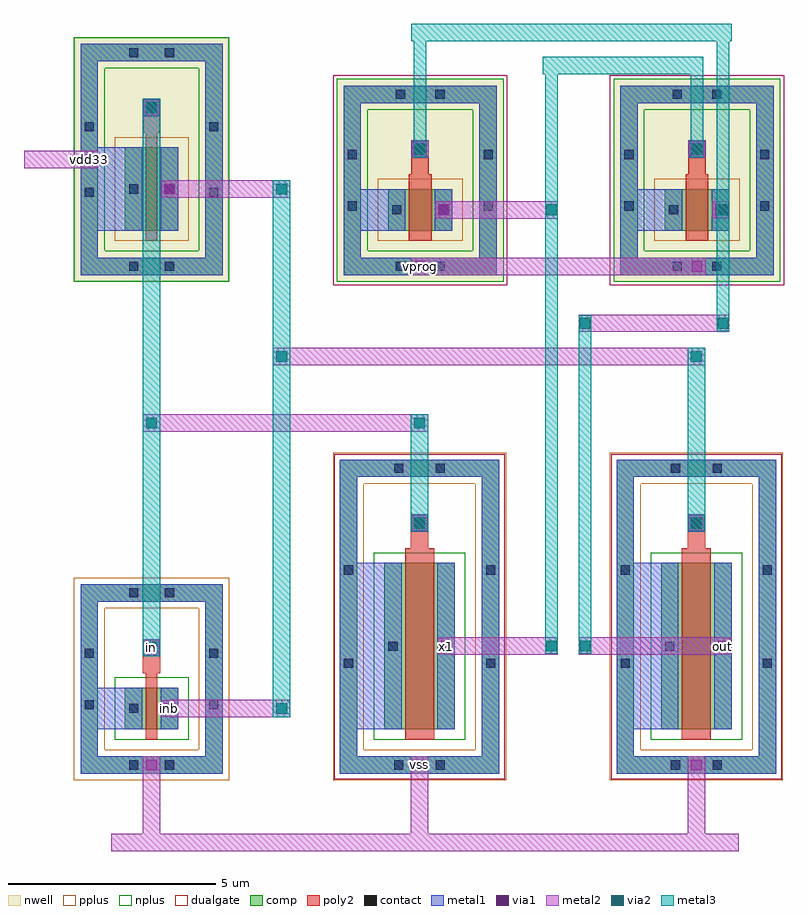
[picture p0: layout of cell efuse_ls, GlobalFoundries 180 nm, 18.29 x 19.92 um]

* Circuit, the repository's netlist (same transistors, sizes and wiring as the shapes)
.subckt efuse_ls in out vdd33 vprog vss
*.ipin in
*.opin out
*.iopin vdd33
*.iopin vprog
*.iopin vss
XMpi inb in vdd33 vdd33 pfet_03v3 L=0.28u W=2u nf=1 ad='int((nf+1)/2) * W/nf * 0.18u' as='int((nf+2)/2) * W/nf * 0.18u' pd='2*int((nf+1)/2) * (W/nf + 0.18u)'
+ ps='2*int((nf+2)/2) * (W/nf + 0.18u)' nrd='0.18u / W' nrs='0.18u / W' sa=0 sb=0 sd=0 m=1
XMni inb in vss vss nfet_03v3 L=0.28u W=1u nf=1 ad='int((nf+1)/2) * W/nf * 0.18u' as='int((nf+2)/2) * W/nf * 0.18u' pd='2*int((nf+1)/2) * (W/nf + 0.18u)'
+ ps='2*int((nf+2)/2) * (W/nf + 0.18u)' nrd='0.18u / W' nrs='0.18u / W' sa=0 sb=0 sd=0 m=1
XMn1 x1 in vss vss nfet_06v0 L=0.7u W=4u nf=1 ad='int((nf+1)/2) * W/nf * 0.18u' as='int((nf+2)/2) * W/nf * 0.18u' pd='2*int((nf+1)/2) * (W/nf + 0.18u)'
+ ps='2*int((nf+2)/2) * (W/nf + 0.18u)' nrd='0.18u / W' nrs='0.18u / W' sa=0 sb=0 sd=0 m=1
XMn2 out inb vss vss nfet_06v0 L=0.7u W=4u nf=1 ad='int((nf+1)/2) * W/nf * 0.18u' as='int((nf+2)/2) * W/nf * 0.18u' pd='2*int((nf+1)/2) * (W/nf + 0.18u)'
+ ps='2*int((nf+2)/2) * (W/nf + 0.18u)' nrd='0.18u / W' nrs='0.18u / W' sa=0 sb=0 sd=0 m=1
XMp1 x1 out vprog vprog pfet_06v0 L=0.55u W=1u nf=1 ad='int((nf+1)/2) * W/nf * 0.18u' as='int((nf+2)/2) * W/nf * 0.18u' pd='2*int((nf+1)/2) * (W/nf + 0.18u)'
+ ps='2*int((nf+2)/2) * (W/nf + 0.18u)' nrd='0.18u / W' nrs='0.18u / W' sa=0 sb=0 sd=0 m=1
XMp2 out x1 vprog vprog pfet_06v0 L=0.55u W=1u nf=1 ad='int((nf+1)/2) * W/nf * 0.18u' as='int((nf+2)/2) * W/nf * 0.18u' pd='2*int((nf+1)/2) * (W/nf + 0.18u)'
+ ps='2*int((nf+2)/2) * (W/nf + 0.18u)' nrd='0.18u / W' nrs='0.18u / W' sa=0 sb=0 sd=0 m=1
.ends

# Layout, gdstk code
import gdstk
lib = gdstk.Library(unit=1e-6, precision=1e-09)
def R(c, l, rs):  # rectangles x0, y0, x1, y1
    for r in rs: c.add(gdstk.rectangle(r[:2], r[2:], *l))
def P(c, l, *ps):  # polygons
    for p in ps: c.add(gdstk.Polygon(p, *l))
nwell = (21, 0)
comp = (22, 0)
poly2 = (30, 0)
pplus = (31, 0)
nplus = (32, 0)
contact = (33, 0)
metal1 = (34, 0)
via1 = (35, 0)
metal2 = (36, 0)
via2 = (38, 0)
metal3 = (42, 0)
dualgate = (55, 0)

efuse_ls__mpi_leaf2__cor = lib.new_cell('efuse_ls__Mpi_leaf2__core')
R(efuse_ls__mpi_leaf2__cor, nwell, [(-1.22,-1.22,2.5,4.64), (-0.15,-0.15,1.43,3.57)])
R(efuse_ls__mpi_leaf2__cor, comp, [(0,0,1.28,2)])
P(efuse_ls__mpi_leaf2__cor, comp, [(-1.07,-1.07),(-1.07,4.07),(-0.65,4.07),(-0.65,-0.65),(1.93,-0.65),(1.93,4.07),(-1.07,4.07),(-1.07,4.49),(2.35,4.49),(2.35,-1.07)])
R(efuse_ls__mpi_leaf2__cor, poly2, [(0.5,-0.25,0.78,2), (0.5,2,0.78,2.35), (0.43,2.35,0.85,3.17)])
R(efuse_ls__mpi_leaf2__cor, pplus, [(-0.25,-0.25,1.53,2.25)])
P(efuse_ls__mpi_leaf2__cor, nplus, [(-1.23,-1.23),(-1.23,3.91),(-0.49,3.91),(-0.49,-0.49),(1.77,-0.49),(1.77,3.91),(-1.23,3.91),(-1.23,4.65),(2.51,4.65),(2.51,-1.23)])
R(efuse_ls__mpi_leaf2__cor, contact, [(0.1,-0.97,0.32,-0.75), (0.96,-0.97,1.18,-0.75), (-0.97,0.815,-0.75,1.035), (2.03,0.815,2.25,1.035), (0.1,0.89,0.32,1.11), (0.96,0.89,1.18,1.11), (-0.97,2.385,-0.75,2.605), (2.03,2.385,2.25,2.605), (0.53,2.85,0.75,3.07), (0.1,4.17,0.32,4.39), (0.96,4.17,1.18,4.39)])
R(efuse_ls__mpi_leaf2__cor, metal1, [(0,0,0.42,2), (0.86,0,1.28,2), (0.43,2.75,0.85,3.17)])
P(efuse_ls__mpi_leaf2__cor, metal1, [(-1.07,-1.07),(-1.07,4.07),(-0.65,4.07),(-0.65,-0.65),(1.93,-0.65),(1.93,4.07),(-1.07,4.07),(-1.07,4.49),(2.35,4.49),(2.35,-1.07)])

efuse_ls__mpi = lib.new_cell('efuse_ls__Mpi')
efuse_ls__mpi.add(gdstk.Reference(efuse_ls__mpi_leaf2__cor, (0,0)))

efuse_ls__mni_leaf3__cor = lib.new_cell('efuse_ls__Mni_leaf3__core')
R(efuse_ls__mni_leaf3__cor, comp, [(0,0,1.28,1)])
P(efuse_ls__mni_leaf3__cor, comp, [(-1.07,-1.07),(-1.07,3.07),(-0.65,3.07),(-0.65,-0.65),(1.93,-0.65),(1.93,3.07),(-1.07,3.07),(-1.07,3.49),(2.35,3.49),(2.35,-1.07)])
R(efuse_ls__mni_leaf3__cor, poly2, [(0.5,-0.25,0.78,1), (0.5,1,0.78,1.35), (0.43,1.35,0.85,2.17)])
P(efuse_ls__mni_leaf3__cor, pplus, [(-1.23,-1.23),(-1.23,2.91),(-0.49,2.91),(-0.49,-0.49),(1.77,-0.49),(1.77,2.91),(-1.23,2.91),(-1.23,3.65),(2.51,3.65),(2.51,-1.23)])
R(efuse_ls__mni_leaf3__cor, nplus, [(-0.25,-0.25,1.53,1.25)])
R(efuse_ls__mni_leaf3__cor, contact, [(0.1,-0.97,0.32,-0.75), (0.96,-0.97,1.18,-0.75), (0.1,0.39,0.32,0.61), (0.96,0.39,1.18,0.61), (-0.97,0.48,-0.75,0.7), (2.03,0.48,2.25,0.7), (-0.97,1.72,-0.75,1.94), (2.03,1.72,2.25,1.94), (0.53,1.85,0.75,2.07), (0.1,3.17,0.32,3.39), (0.96,3.17,1.18,3.39)])
R(efuse_ls__mni_leaf3__cor, metal1, [(0,0,0.42,1), (0.86,0,1.28,1), (0.43,1.75,0.85,2.17)])
P(efuse_ls__mni_leaf3__cor, metal1, [(-1.07,-1.07),(-1.07,3.07),(-0.65,3.07),(-0.65,-0.65),(1.93,-0.65),(1.93,3.07),(-1.07,3.07),(-1.07,3.49),(2.35,3.49),(2.35,-1.07)])

efuse_ls__mni = lib.new_cell('efuse_ls__Mni')
efuse_ls__mni.add(gdstk.Reference(efuse_ls__mni_leaf3__cor, (0,0)))

efuse_ls__mn1_leaf4__cor = lib.new_cell('efuse_ls__Mn1_leaf4__core')
R(efuse_ls__mn1_leaf4__cor, comp, [(0,0,1.7,4)])
P(efuse_ls__mn1_leaf4__cor, comp, [(-1.07,-1.07),(-1.07,6.07),(-0.65,6.07),(-0.65,-0.65),(2.35,-0.65),(2.35,6.07),(-1.07,6.07),(-1.07,6.49),(2.77,6.49),(2.77,-1.07)])
R(efuse_ls__mn1_leaf4__cor, poly2, [(0.5,-0.25,1.2,4), (0.5,4,1.2,4.35), (0.64,4.35,1.06,5.17)])
P(efuse_ls__mn1_leaf4__cor, pplus, [(-1.23,-1.23),(-1.23,5.91),(-0.49,5.91),(-0.49,-0.49),(2.19,-0.49),(2.19,5.91),(-1.23,5.91),(-1.23,6.65),(2.93,6.65),(2.93,-1.23)])
R(efuse_ls__mn1_leaf4__cor, nplus, [(-0.25,-0.25,1.95,4.25)])
R(efuse_ls__mn1_leaf4__cor, contact, [(0.24,-0.97,0.46,-0.75), (1.24,-0.97,1.46,-0.75), (-0.97,1.48,-0.75,1.7), (2.45,1.48,2.67,1.7), (0.1,1.89,0.32,2.11), (1.38,1.89,1.6,2.11), (-0.97,3.72,-0.75,3.94), (2.45,3.72,2.67,3.94), (0.74,4.85,0.96,5.07), (0.24,6.17,0.46,6.39), (1.24,6.17,1.46,6.39)])
R(efuse_ls__mn1_leaf4__cor, metal1, [(0,0,0.42,4), (1.28,0,1.7,4), (0.64,4.75,1.06,5.17)])
P(efuse_ls__mn1_leaf4__cor, metal1, [(-1.07,-1.07),(-1.07,6.07),(-0.65,6.07),(-0.65,-0.65),(2.35,-0.65),(2.35,6.07),(-1.07,6.07),(-1.07,6.49),(2.77,6.49),(2.77,-1.07)])
R(efuse_ls__mn1_leaf4__cor, dualgate, [(-1.2,-1.2,2.9,6.62)])

efuse_ls__mn1 = lib.new_cell('efuse_ls__Mn1')
efuse_ls__mn1.add(gdstk.Reference(efuse_ls__mn1_leaf4__cor, (0,0)))

efuse_ls__mn2_leaf4__cor = lib.new_cell('efuse_ls__Mn2_leaf4__core')
R(efuse_ls__mn2_leaf4__cor, comp, [(0,0,1.7,4)])
P(efuse_ls__mn2_leaf4__cor, comp, [(-1.07,-1.07),(-1.07,6.07),(-0.65,6.07),(-0.65,-0.65),(2.35,-0.65),(2.35,6.07),(-1.07,6.07),(-1.07,6.49),(2.77,6.49),(2.77,-1.07)])
R(efuse_ls__mn2_leaf4__cor, poly2, [(0.5,-0.25,1.2,4), (0.5,4,1.2,4.35), (0.64,4.35,1.06,5.17)])
P(efuse_ls__mn2_leaf4__cor, pplus, [(-1.23,-1.23),(-1.23,5.91),(-0.49,5.91),(-0.49,-0.49),(2.19,-0.49),(2.19,5.91),(-1.23,5.91),(-1.23,6.65),(2.93,6.65),(2.93,-1.23)])
R(efuse_ls__mn2_leaf4__cor, nplus, [(-0.25,-0.25,1.95,4.25)])
R(efuse_ls__mn2_leaf4__cor, contact, [(0.24,-0.97,0.46,-0.75), (1.24,-0.97,1.46,-0.75), (-0.97,1.48,-0.75,1.7), (2.45,1.48,2.67,1.7), (0.1,1.89,0.32,2.11), (1.38,1.89,1.6,2.11), (-0.97,3.72,-0.75,3.94), (2.45,3.72,2.67,3.94), (0.74,4.85,0.96,5.07), (0.24,6.17,0.46,6.39), (1.24,6.17,1.46,6.39)])
R(efuse_ls__mn2_leaf4__cor, metal1, [(0,0,0.42,4), (1.28,0,1.7,4), (0.64,4.75,1.06,5.17)])
P(efuse_ls__mn2_leaf4__cor, metal1, [(-1.07,-1.07),(-1.07,6.07),(-0.65,6.07),(-0.65,-0.65),(2.35,-0.65),(2.35,6.07),(-1.07,6.07),(-1.07,6.49),(2.77,6.49),(2.77,-1.07)])
R(efuse_ls__mn2_leaf4__cor, dualgate, [(-1.2,-1.2,2.9,6.62)])

efuse_ls__mn2 = lib.new_cell('efuse_ls__Mn2')
efuse_ls__mn2.add(gdstk.Reference(efuse_ls__mn2_leaf4__cor, (0,0)))

efuse_ls__mp1_leaf5__cor = lib.new_cell('efuse_ls__Mp1_leaf5__core')
R(efuse_ls__mp1_leaf5__cor, nwell, [(-1.22,-1.22,2.77,3.64), (-0.15,-0.15,1.7,2.57)])
R(efuse_ls__mp1_leaf5__cor, comp, [(0,0,1.55,1)])
P(efuse_ls__mp1_leaf5__cor, comp, [(-1.07,-1.07),(-1.07,3.07),(-0.65,3.07),(-0.65,-0.65),(2.2,-0.65),(2.2,3.07),(-1.07,3.07),(-1.07,3.49),(2.62,3.49),(2.62,-1.07)])
R(efuse_ls__mp1_leaf5__cor, poly2, [(0.5,-0.25,1.05,1), (0.5,1,1.05,1.35), (0.565,1.35,0.985,2.17)])
R(efuse_ls__mp1_leaf5__cor, pplus, [(-0.25,-0.25,1.8,1.25)])
P(efuse_ls__mp1_leaf5__cor, nplus, [(-1.23,-1.23),(-1.23,2.91),(-0.49,2.91),(-0.49,-0.49),(2.04,-0.49),(2.04,2.91),(-1.23,2.91),(-1.23,3.65),(2.78,3.65),(2.78,-1.23)])
R(efuse_ls__mp1_leaf5__cor, contact, [(0.19,-0.97,0.41,-0.75), (1.14,-0.97,1.36,-0.75), (0.1,0.39,0.32,0.61), (1.23,0.39,1.45,0.61), (-0.97,0.48,-0.75,0.7), (2.3,0.48,2.52,0.7), (-0.97,1.72,-0.75,1.94), (2.3,1.72,2.52,1.94), (0.665,1.85,0.885,2.07), (0.19,3.17,0.41,3.39), (1.14,3.17,1.36,3.39)])
R(efuse_ls__mp1_leaf5__cor, metal1, [(0,0,0.42,1), (1.13,0,1.55,1), (0.565,1.75,0.985,2.17)])
P(efuse_ls__mp1_leaf5__cor, metal1, [(-1.07,-1.07),(-1.07,3.07),(-0.65,3.07),(-0.65,-0.65),(2.2,-0.65),(2.2,3.07),(-1.07,3.07),(-1.07,3.49),(2.62,3.49),(2.62,-1.07)])
R(efuse_ls__mp1_leaf5__cor, dualgate, [(-1.2,-1.2,2.75,3.62)])

efuse_ls__mp1 = lib.new_cell('efuse_ls__Mp1')
R(efuse_ls__mp1, nwell, [(-1.23,-1.23,2.78,3.65)])
R(efuse_ls__mp1, dualgate, [(-1.32,-1.32,2.87,3.74)])
efuse_ls__mp1.add(gdstk.Reference(efuse_ls__mp1_leaf5__cor, (0,0)))

efuse_ls__mp2_leaf5__cor = lib.new_cell('efuse_ls__Mp2_leaf5__core')
R(efuse_ls__mp2_leaf5__cor, nwell, [(-1.22,-1.22,2.77,3.64), (-0.15,-0.15,1.7,2.57)])
R(efuse_ls__mp2_leaf5__cor, comp, [(0,0,1.55,1)])
P(efuse_ls__mp2_leaf5__cor, comp, [(-1.07,-1.07),(-1.07,3.07),(-0.65,3.07),(-0.65,-0.65),(2.2,-0.65),(2.2,3.07),(-1.07,3.07),(-1.07,3.49),(2.62,3.49),(2.62,-1.07)])
R(efuse_ls__mp2_leaf5__cor, poly2, [(0.5,-0.25,1.05,1), (0.5,1,1.05,1.35), (0.565,1.35,0.985,2.17)])
R(efuse_ls__mp2_leaf5__cor, pplus, [(-0.25,-0.25,1.8,1.25)])
P(efuse_ls__mp2_leaf5__cor, nplus, [(-1.23,-1.23),(-1.23,2.91),(-0.49,2.91),(-0.49,-0.49),(2.04,-0.49),(2.04,2.91),(-1.23,2.91),(-1.23,3.65),(2.78,3.65),(2.78,-1.23)])
R(efuse_ls__mp2_leaf5__cor, contact, [(0.19,-0.97,0.41,-0.75), (1.14,-0.97,1.36,-0.75), (0.1,0.39,0.32,0.61), (1.23,0.39,1.45,0.61), (-0.97,0.48,-0.75,0.7), (2.3,0.48,2.52,0.7), (-0.97,1.72,-0.75,1.94), (2.3,1.72,2.52,1.94), (0.665,1.85,0.885,2.07), (0.19,3.17,0.41,3.39), (1.14,3.17,1.36,3.39)])
R(efuse_ls__mp2_leaf5__cor, metal1, [(0,0,0.42,1), (1.13,0,1.55,1), (0.565,1.75,0.985,2.17)])
P(efuse_ls__mp2_leaf5__cor, metal1, [(-1.07,-1.07),(-1.07,3.07),(-0.65,3.07),(-0.65,-0.65),(2.2,-0.65),(2.2,3.07),(-1.07,3.07),(-1.07,3.49),(2.62,3.49),(2.62,-1.07)])
R(efuse_ls__mp2_leaf5__cor, dualgate, [(-1.2,-1.2,2.75,3.62)])

efuse_ls__mp2 = lib.new_cell('efuse_ls__Mp2')
R(efuse_ls__mp2, nwell, [(-1.23,-1.23,2.78,3.65)])
R(efuse_ls__mp2, dualgate, [(-1.32,-1.32,2.87,3.74)])
efuse_ls__mp2.add(gdstk.Reference(efuse_ls__mp2_leaf5__cor, (0,0)))

efuse_ls = lib.new_cell('efuse_ls')
R(efuse_ls, metal1, [(0.16,1.23,1.23,2.23), (6.4,1.23,7.47,5.23), (13.06,1.23,14.13,5.23), (0.16,13.23,1.23,15.23), (6.49,13.23,7.56,14.23), (13.15,13.23,14.22,14.23)])
R(efuse_ls, via1, [(1.74,0.24,2,0.5), (8.19,0.24,8.45,0.5), (14.85,0.24,15.11,0.5), (2.17,1.6,2.43,1.86), (1.74,3.06,2,3.32), (8.83,3.1,9.09,3.36), (15.49,3.1,15.75,3.36), (8.19,6.06,8.45,6.32), (14.85,6.06,15.11,6.32), (8.205,12.24,8.465,12.5), (14.865,12.24,15.125,12.5), (8.77,13.6,9.03,13.86), (15.43,13.6,15.69,13.86), (2.17,14.1,2.43,14.36), (0.24,14.81,0.5,15.07), (8.205,15.06,8.465,15.32), (14.865,15.06,15.125,15.32), (1.74,16.06,2,16.32)])
R(efuse_ls, metal2, [(0.9,-1.71,16,-1.29), (1.66,-1.71,2.08,0.58), (8.11,-1.71,8.53,0.58), (14.77,-1.71,15.19,0.58), (2.3,1.52,5.21,1.94), (2.1,1.53,2.5,1.93), (1.67,2.99,2.07,3.39), (8.96,3.02,11.65,3.44), (12.15,3.02,15.62,3.44), (8.76,3.03,9.16,3.43), (15.42,3.03,15.82,3.43), (8.12,5.99,8.52,6.39), (14.78,5.99,15.18,6.39), (1.66,8.39,8.53,8.81), (4.79,9.99,15.19,10.41), (12.15,10.79,15.77,11.21), (8.125,12.16,15.205,12.58), (8.9,13.52,11.65,13.94), (8.7,13.53,9.1,13.93), (15.36,13.53,15.76,13.93), (2.3,14.02,5.21,14.44), (2.1,14.03,2.5,14.43), (-1.2,14.73,0.58,15.15), (8.135,14.99,8.535,15.39), (14.795,14.99,15.195,15.39), (1.67,15.99,2.07,16.39)])
R(efuse_ls, via2, [(4.87,1.6,5.13,1.86), (1.74,3.06,2,3.32), (11.37,3.1,11.63,3.36), (12.17,3.1,12.43,3.36), (8.19,6.06,8.45,6.32), (14.85,6.06,15.11,6.32), (1.74,8.47,2,8.73), (8.19,8.47,8.45,8.73), (4.87,10.07,5.13,10.33), (14.85,10.07,15.11,10.33), (12.17,10.87,12.43,11.13), (15.49,10.87,15.75,11.13), (11.37,13.6,11.63,13.86), (15.49,13.6,15.75,13.86), (4.87,14.1,5.13,14.36), (8.205,15.06,8.465,15.32), (14.865,15.06,15.125,15.32), (1.74,16.06,2,16.32)])
R(efuse_ls, metal3, [(4.79,1.52,5.21,14.44), (1.66,2.98,2.08,16.4), (11.35,3.04,11.65,17.35), (12.15,3.04,12.45,11.19), (8.11,5.98,8.53,8.81), (14.77,5.98,15.19,10.41), (15.47,10.81,15.77,18.15), (8.185,15,8.485,18.15), (14.845,15,15.145,17.35), (11.29,16.99,15.145,17.41), (8.125,17.79,15.83,18.21)])
efuse_ls.add(gdstk.Reference(efuse_ls__mpi, (1.23,13.23)))
efuse_ls.add(gdstk.Reference(efuse_ls__mni, (1.23,1.23)))
efuse_ls.add(gdstk.Reference(efuse_ls__mn1, (7.47,1.23)))
efuse_ls.add(gdstk.Reference(efuse_ls__mn2, (14.13,1.23)))
efuse_ls.add(gdstk.Reference(efuse_ls__mp1, (7.56,13.23)))
efuse_ls.add(gdstk.Reference(efuse_ls__mp2, (14.22,13.23)))
efuse_ls.add(gdstk.Label('in', (1.87,3.19), layer=34, texttype=10))
efuse_ls.add(gdstk.Label('inb', (2.3,1.73), layer=34, texttype=10))
efuse_ls.add(gdstk.Label('x1', (8.96,3.23), layer=34, texttype=10))
efuse_ls.add(gdstk.Label('out', (15.62,3.23), layer=34, texttype=10))
efuse_ls.add(gdstk.Label('vdd33', (0.37,14.94), layer=34, texttype=10))
efuse_ls.add(gdstk.Label('vprog', (8.335,12.37), layer=34, texttype=10))
efuse_ls.add(gdstk.Label('vss', (8.32,0.37), layer=34, texttype=10))

lib.write_gds('efuse_ls.gds')
